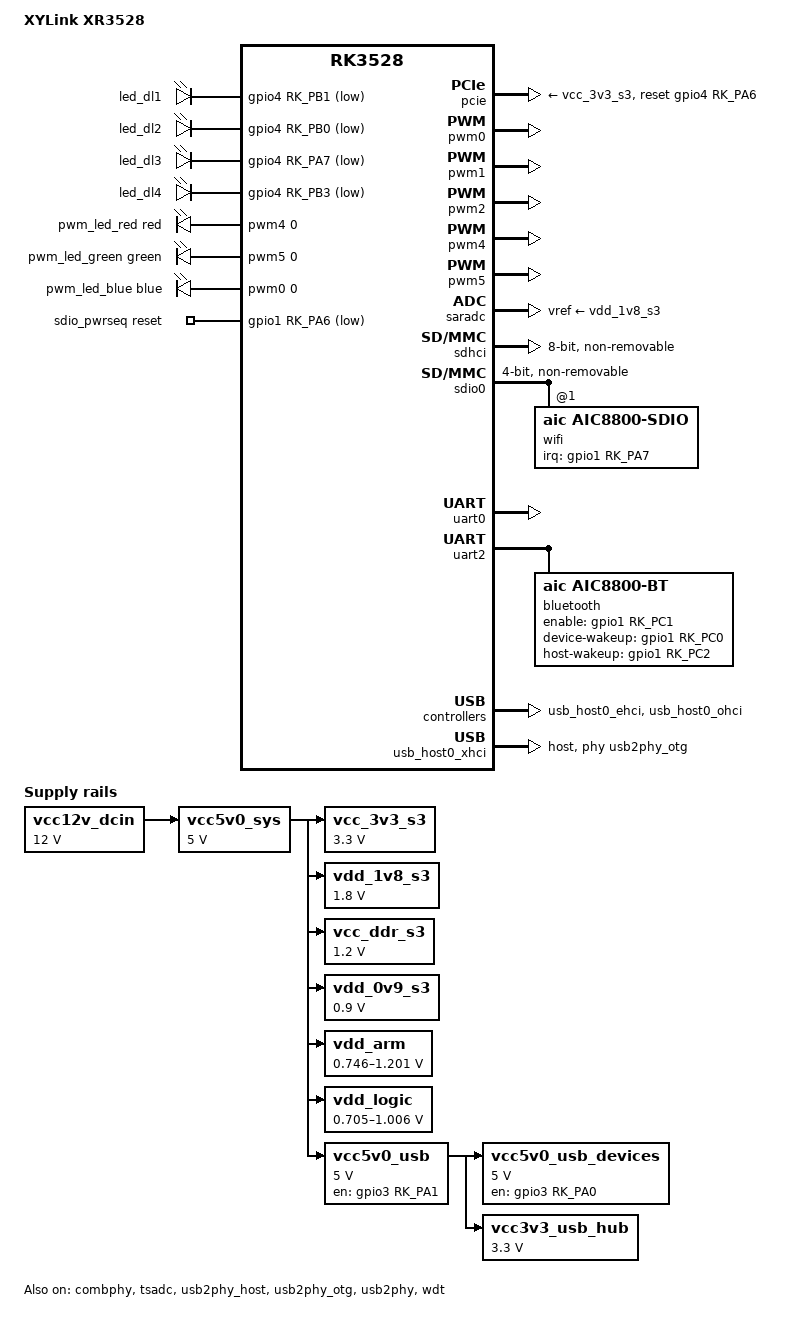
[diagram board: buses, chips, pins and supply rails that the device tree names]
// SPDX-License-Identifier: (GPL-2.0+ OR MIT)
/*
 * Copyright (c) 2022 Rockchip Electronics Co., Ltd.
 * Copyright (c) 2026 flippy (flippy@sina.com)
 */

/dts-v1/;

#include <dt-bindings/input/input.h>
#include <dt-bindings/leds/common.h>
#include <dt-bindings/pwm/pwm.h>
#include "rk3528.dtsi"
#include "rk3528-op-pwm.dtsi"

/ {
	model = "XYLink XR3528";
	compatible = "xylink,xr3528", "rockchip,rk3528";

	aliases: aliases {
		mmc0 = &sdmmc;
		mmc1 = &sdhci;
		mmc2 = &sdio0;
		serial0 = &uart0;
	};

	chosen: chosen{
		stdout-path = "serial0:1500000n8";
	};

	gpio_leds: gpio-leds {
		compatible = "gpio-leds";

		led_dl1: led-dl1 {
			function = LED_FUNCTION_POWER;
			pinctrl-0 = <&led_dl1_pin>;
			pinctrl-names = "default";
			gpios = <&gpio4 RK_PB1 GPIO_ACTIVE_LOW>;
			linux,default-trigger = "default-on";
		};

		led_dl2: led-dl2 {
			function = LED_FUNCTION_HEARTBEAT;
			pinctrl-0 = <&led_dl2_pin>;
			pinctrl-names = "default";
			gpios = <&gpio4 RK_PB0 GPIO_ACTIVE_LOW>;
			linux,default-trigger = "heartbeat";
		};

		led_dl3: led-dl3 {
			pinctrl-0 = <&led_dl3_pin>;
			pinctrl-names = "default";
			gpios = <&gpio4 RK_PA7 GPIO_ACTIVE_LOW>;
		};

		led_dl4: led-dl4 {
			pinctrl-0 = <&led_dl4_pin>;
			pinctrl-names = "default";
			gpios = <&gpio4 RK_PB3 GPIO_ACTIVE_LOW>;
		};
	};

	pwm_leds: pwm-leds {
		compatible = "pwm-leds";

		pwm_led_red: pwm-led-red {
			color = <LED_COLOR_ID_RED>;
			pwms = <&pwm4 0 1000000 0>;
			max-brightness = <255>;
			default-state = "off";
		};

		pwm_led_green: pwm-led-green {
			color = <LED_COLOR_ID_GREEN>;
			pwms = <&pwm5 0 1000000 0>;
			linux,default-trigger = "heartbeat";
			max-brightness = <255>;
		};

		pwm_led_blue: pwm-led-blue {
			color = <LED_COLOR_ID_BLUE>;
			pwms = <&pwm0 0 1000000 0>;
			max-brightness = <255>;
			default-state = "off";
		};
	};

	reserved_memory: reserved-memory {
		#address-cells = <2>;
		#size-cells = <2>;
		ranges;

		cmd: cma {
			compatible = "shared-dma-pool";
			reusable;
			/* 32MB */
			size = <0x00 (32 * 0x100000)>;
			linux,cma-default;
		};

		ramoops: ramoops@110000 {
			compatible = "ramoops";
			/* 0x110000 to 0x1f0000 is for ramoops */
			reg = <0x0 0x110000 0x0 0xe0000>;
			boot-log-size = <0x8000>;	/* do not change */
			boot-log-count = <0x1>;		/* do not change */
			console-size = <0x80000>;
			pmsg-size = <0x30000>;
			ftrace-size = <0x00000>;
			record-size = <0x14000>;
		};
	};

	vcc12v_dcin: regulator-vcc12v-dcin {
		compatible = "regulator-fixed";
		regulator-name = "vcc12v-dcin";
		regulator-always-on;
		regulator-boot-on;
		regulator-min-microvolt = <12000000>;
		regulator-max-microvolt = <12000000>;
	};

	vcc5v0_sys: regulator-vcc5v0-sys {
		compatible = "regulator-fixed";
		pinctrl-names = "default";
		pinctrl-0 = <&charge_pin>, <&full_pin>;
		regulator-name = "vcc5v0_sys";
		regulator-always-on;
		regulator-boot-on;
		regulator-min-microvolt = <5000000>;
		regulator-max-microvolt = <5000000>;
		vin-supply = <&vcc12v_dcin>;
	};

	vcc_3v3_s3: regulator-vcc-3v3-s3 {
		compatible = "regulator-fixed";
		regulator-name = "vcc_3v3_s3";
		regulator-always-on;
		regulator-boot-on;
		regulator-min-microvolt = <3300000>;
		regulator-max-microvolt = <3300000>;
		vin-supply = <&vcc5v0_sys>;
	};

	vdd_1v8_s3: regulator-vdd-1v8-s3 {
		compatible = "regulator-fixed";
		regulator-name = "vdd_1v8_s3";
		regulator-always-on;
		regulator-boot-on;
		regulator-min-microvolt = <1800000>;
		regulator-max-microvolt = <1800000>;
		vin-supply = <&vcc5v0_sys>;
	};

	vcc_ddr_s3: regulator-vcc-ddr-s3 {
		compatible = "regulator-fixed";
		regulator-name = "vcc_ddr_s3";
		regulator-always-on;
		regulator-boot-on;
		regulator-min-microvolt = <1200000>;
		regulator-max-microvolt = <1200000>;
		vin-supply = <&vcc5v0_sys>;
	};

	vdd_0v9_s3: regulator-vdd-0v9-s3 {
		compatible = "regulator-fixed";
		regulator-name = "vdd_0v9_s3";
		regulator-always-on;
		regulator-boot-on;
		regulator-min-microvolt = <900000>;
		regulator-max-microvolt = <900000>;
		vin-supply = <&vcc5v0_sys>;
	};

	vdd_arm: regulator-vdd-arm {
		compatible = "pwm-regulator";
		pwms = <&pwm1 0 5000 PWM_POLARITY_INVERTED>;
		pwm-supply = <&vcc5v0_sys>;
		regulator-name = "vdd_arm";
		regulator-always-on;
		regulator-boot-on;
		regulator-min-microvolt = <746000>;
		regulator-max-microvolt = <1201000>;
		regulator-settling-time-up-us = <250>;
	};

	vdd_logic: regulator-vdd-logic {
		compatible = "pwm-regulator";
		pwms = <&pwm2 0 5000 PWM_POLARITY_INVERTED>;
		pwm-supply = <&vcc5v0_sys>;
		regulator-name = "vdd_logic";
		regulator-min-microvolt = <705000>;
		regulator-max-microvolt = <1006000>;
		regulator-settling-time-up-us = <250>;
	};

	vcc5v0_usb: regulator-vcc5v0-usb {
		compatible = "regulator-fixed";
		enable-active-high;
		gpios = <&gpio3 RK_PA1 GPIO_ACTIVE_HIGH>;
		regulator-name = "vcc5v0_usb";
		regulator-always-on;
		regulator-boot-on;
		regulator-min-microvolt = <5000000>;
		regulator-max-microvolt = <5000000>;
		vin-supply = <&vcc5v0_sys>;
	};

	vcc5v0_usb_devices: regulator-vbus5v0-devices {
		compatible = "regulator-fixed";
		enable-active-high;
		gpios = <&gpio3 RK_PA0 GPIO_ACTIVE_HIGH>;
		regulator-name = "vcc5v0_usb_devices";
		regulator-min-microvolt = <5000000>;
		regulator-max-microvolt = <5000000>;
		vin-supply = <&vcc5v0_usb>;
	};

	vcc3v3_usb_hub: regulator-vcc3v3-usb-hub {
		compatible = "regulator-fixed";
		regulator-name = "vcc3v3_usb_hub";
		regulator-always-on;
		regulator-boot-on;
		regulator-min-microvolt = <3300000>;
		regulator-max-microvolt = <3300000>;
		vin-supply = <&vcc5v0_usb>;
	};

	sdio_pwrseq: sdio-pwrseq {
		compatible = "mmc-pwrseq-simple";
		pinctrl-names = "default";
		pinctrl-0 = <&wifi_enable_h>; // WIFI_REG_ON
		post-power-on-delay-ms = <1000>;
		power-off-delay-us = <20000>;

		/*
		 * On the module itself this is one of these (depending
		 * on the actual card populated):
		 * - SDIO_RESET_L_WL_REG_ON
		 * - PDN (power down when low)
		 */
		reset-gpios = <&gpio1 RK_PA6 GPIO_ACTIVE_LOW>;
		status = "okay";
	};

};

&combphy {
	status = "okay";
};

&cpu0 {
	cpu-supply = <&vdd_arm>;
};

&cpu1 {
	cpu-supply = <&vdd_arm>;
};

&cpu2 {
	cpu-supply = <&vdd_arm>;
};

&cpu3 {
	cpu-supply = <&vdd_arm>;
};

&gpu {
	mali-supply = <&vdd_logic>;
	status = "disabled";
};

&pcie {
	reset-gpios = <&gpio4 RK_PA6 GPIO_ACTIVE_HIGH>;
	vpcie3v3-supply = <&vcc_3v3_s3>;
	status = "okay";
};

&pinctrl {
	charge {
		charge_pin: charge-pin {
			rockchip,pins = <4 RK_PC2 RK_FUNC_GPIO &pcfg_pull_up>;
		};

		full_pin: full-pin {
			rockchip,pins = <4 RK_PC1 RK_FUNC_GPIO &pcfg_pull_up>;
		};
	};

	leds {
		led_dl1_pin: led-dl1-pin {
			rockchip,pins = <4 RK_PB1 RK_FUNC_GPIO &pcfg_pull_up>;
		};

		led_dl2_pin: led-dl2-pin {
			rockchip,pins = <4 RK_PB0 RK_FUNC_GPIO &pcfg_pull_up>;
		};

		led_dl3_pin: led-dl3-pin {
			rockchip,pins = <4 RK_PA7 RK_FUNC_GPIO &pcfg_pull_up>;
		};

		led_dl4_pin: led-dl4-pin {
			rockchip,pins = <4 RK_PB3 RK_FUNC_GPIO &pcfg_pull_up>;
		};
	};

	sdio-wireless {
		wifi_enable_h: wifi-enable-h {
			rockchip,pins = <1 RK_PA6 RK_FUNC_GPIO &pcfg_pull_none>;
		};

		wifi_wake_host_irq: wifi-wake-host-irq {
			rockchip,pins = <1 RK_PA7 RK_FUNC_GPIO &pcfg_pull_none>;
		};
	};

};

&power {
	power-domain@RK3528_PD_GPU {
		rockchip,always-on;
	};
	power-domain@RK3528_PD_RKVDEC {
		rockchip,always-on;
	};
	power-domain@RK3528_PD_RKVENC {
		rockchip,always-on;
	};
	power-domain@RK3528_PD_VO {
		rockchip,always-on;
	};
	power-domain@RK3528_PD_VPU {
		rockchip,always-on;
	};
};

/* rgb led: blue */
&pwm0 {
	pinctrl-names = "default";
	pinctrl-0 = <&pwm0m0_pins>;
	status = "okay";
};

/* vdd_arm */
&pwm1 {
	pinctrl-names = "default";
	pinctrl-0 = <&pwm1m0_pins>;
	status = "okay";
};

/* vdd_logic */
&pwm2 {
	pinctrl-names = "default";
	pinctrl-0 = <&pwm2m0_pins>;
	status = "okay";
};

/* rgb led: red */
&pwm4 {
	pinctrl-names = "default";
	pinctrl-0 = <&pwm4m0_pins>;
	status = "okay";
};

/* rgb led: green */
&pwm5 {
	pinctrl-names = "default";
	pinctrl-0 = <&pwm5m0_pins>;
	status = "okay";
};

&saradc {
	status = "okay";
	vref-supply = <&vdd_1v8_s3>;
};

&sdhci {
	bus-width = <8>;
	mmc-hs200-1_8v;
	no-sd;
	no-sdio;
	non-removable;
	pinctrl-names = "default";
	pinctrl-0 = <&emmc_clk>, <&emmc_cmd>, <&emmc_strb>, <&emmc_bus8>;
	status = "okay";
};

&sdio0 {
	#address-cells = <1>;
	#size-cells = <0>;
	max-frequency = <100000000>;
	no-sd;
	no-mmc;
	bus-width = <4>;
	disable-wp;
	cap-sd-highspeed;
	cap-sdio-irq;
	keep-power-in-suspend;
	mmc-pwrseq = <&sdio_pwrseq>;
	non-removable;
	pinctrl-names = "default";
	pinctrl-0 = <&sdio0_bus4 &sdio0_clk &sdio0_cmd>;
	sd-uhs-sdr50;
	status = "okay";

	wifi@1 {
		compatible = "aic,aic8800-sdio";
		reg = <1>;
		pinctrl-names = "default";
		pinctrl-0 = <&wifi_wake_host_irq>;
		interrupt-parent = <&gpio1>;
		interrupts = <RK_PA7 IRQ_TYPE_LEVEL_HIGH>; /* WIFI_WAKE_HOST */
		interrupt-names = "host-wake";
	};
};

&tsadc {
	status = "okay";
};

&uart0 {
	pinctrl-names = "default";
	pinctrl-0 = <&uart0m0_xfer>;
	status = "okay";
};

&uart2 {
	status = "okay";
	pinctrl-names = "default";
	/* RTS is required for hardware flow control; the AIC8800 BT firmware
	 * is configured with flow control enabled (uart_flowctrl=1).
	 */
	pinctrl-0 = <&uart2m1_xfer &uart2m1_ctsn &uart2m1_rtsn>;

	bluetooth {
		compatible = "aic,aic8800-bt";
		enable-gpios = <&gpio1 RK_PC1 GPIO_ACTIVE_HIGH>;       /* BT_REG_ON */
		device-wakeup-gpios = <&gpio1 RK_PC0 GPIO_ACTIVE_HIGH>; /* HOST_WAKE_BT */
		host-wakeup-gpios = <&gpio1 RK_PC2 GPIO_ACTIVE_HIGH>;   /* BT_WAKE_HOST */
		max-speed = <1500000>;
		post-power-on-delay-ms = <100>;
	};
};

&usb2phy_host {
	phy-supply = <&vcc5v0_usb_devices>;
	status = "okay";
};

&usb2phy_otg {
	status = "okay";
};

&usb2phy {
	status = "okay";
};

&usb_host0_ehci {
	status = "okay";
};

&usb_host0_ohci {
	status = "okay";
};

&usb_host0_xhci {
	dr_mode = "host";
	extcon = <&usb2phy>;
	maximum-speed = "high-speed";
	phys = <&usb2phy_otg>;
	phy-names = "usb2-phy";
	status = "okay";
};

&wdt {
	status = "okay";
};
